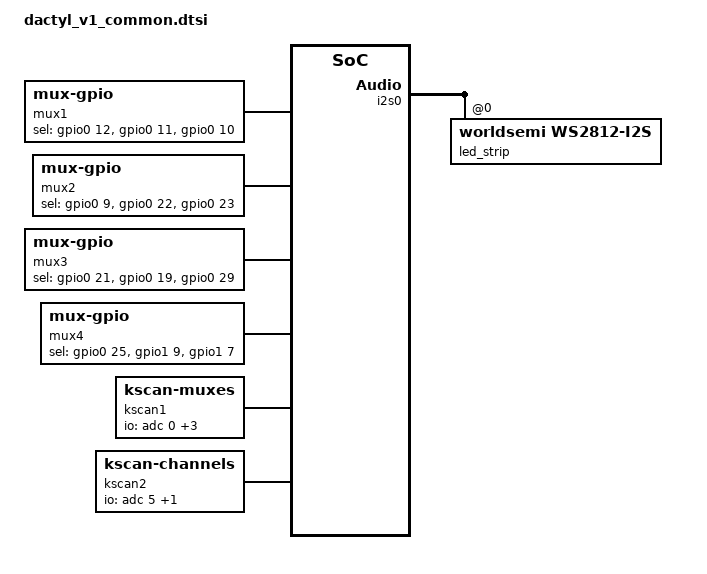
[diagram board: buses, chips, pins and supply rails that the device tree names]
#include <zephyr/dt-bindings/led/led.h>
#include <dt-bindings/kb-handler/kb-key-codes.h>

/ {

    mux1: mux1 {
        compatible = "mux-gpio";
        sel-gpios = <&gpio0 12 GPIO_ACTIVE_HIGH>,
                    <&gpio0 11 GPIO_ACTIVE_HIGH>,
                    <&gpio0 10 GPIO_ACTIVE_HIGH>;
        channels = <8>;
        #mux-cells = <0>;
    };
    mux2: mux2 {
        compatible = "mux-gpio";
        sel-gpios = <&gpio0 9 GPIO_ACTIVE_HIGH>,
                    <&gpio0 22 GPIO_ACTIVE_HIGH>,
                    <&gpio0 23 GPIO_ACTIVE_HIGH>;
        channels = <8>;
        #mux-cells = <0>;
    };
    mux3: mux3 {
        compatible = "mux-gpio";
        sel-gpios = <&gpio0 21 GPIO_ACTIVE_HIGH>,
                    <&gpio0 19 GPIO_ACTIVE_HIGH>,
                    <&gpio0 29 GPIO_ACTIVE_HIGH>;
        channels = <8>;
        #mux-cells = <0>;
    };
    mux4: mux4 {
        compatible = "mux-gpio";
        sel-gpios = <&gpio0 25 GPIO_ACTIVE_HIGH>,
                    <&gpio1 9 GPIO_ACTIVE_HIGH>,
                    <&gpio1 7 GPIO_ACTIVE_HIGH>;
        channels = <8>;
        #mux-cells = <0>;
    };

    kscan1: kscan1 {

        compatible = "kscan-muxes";

        // handles indexes [0-7], [8-15], [16-23], [24-31]
        idx-offset = <0>;
        io-channels = <&adc 0>, <&adc 1>, <&adc 2>, <&adc 3>; // P0.04, P0.05, P0.06, P0.07
        muxes = <&mux1>, <&mux2>, <&mux3>, <&mux4>;

        settle-us = <3>;
        default-thresholds = <600>, <600>, <600>, <600>, <600>,
                             <600>, <600>, <600>, <600>, <600>,
                             <600>, <600>, <600>, <600>, <600>,
                             <600>, <600>, <600>, <600>, <600>,
                             <600>, <600>, <600>, <600>, <600>,
                             <600>, <600>, <600>, <600>, <600>,
                             <600>, <600>;

        #kscan-cells = <0>;
    };
    kscan2: kscan2 {

        compatible = "kscan-channels";

        // handles indexes [32-33]
        idx-offset = <32>;
        io-channels = <&adc 5>, <&adc 7>; // P0.26, P0.28

        settle-us = <3>;
        default-thresholds = <600>, <600>;

        #kscan-cells = <0>;
    };

    kb_handler: kb-handler {

        kscans = <&kscan1>, <&kscan2>;

        key-count = <34>;

        default-keymap-layer1 =
            // Left (34)
            <KEY_NOKEY>, <KEY_NOKEY>, <KEY_NOKEY>, <KEY_NOKEY>, <KEY_NOKEY>,
            <KEY_NOKEY>, <KEY_NOKEY>, <KEY_NOKEY>, <KEY_NOKEY>, <KEY_NOKEY>,
            <KEY_NOKEY>, <KEY_NOKEY>, <KEY_NOKEY>, <KEY_NOKEY>, <KEY_NOKEY>,
            <KEY_NOKEY>, <KEY_NOKEY>, <KEY_NOKEY>, <KEY_NOKEY>, <KEY_NOKEY>,
            <KEY_NOKEY>, <KEY_NOKEY>, <KEY_NOKEY>, <KEY_NOKEY>, <KEY_NOKEY>,
            <KEY_NOKEY>, <KEY_NOKEY>, <KEY_NOKEY>, <KEY_NOKEY>, <KEY_NOKEY>,
            <KEY_NOKEY>, <KEY_NOKEY>, <KEY_NOKEY>, <KEY_NOKEY>,

            // Right (34)
            <KEY_NOKEY>, <KEY_NOKEY>, <KEY_NOKEY>, <KEY_NOKEY>, <KEY_NOKEY>,
            <KEY_NOKEY>, <KEY_NOKEY>, <KEY_NOKEY>, <KEY_NOKEY>, <KEY_NOKEY>,
            <KEY_NOKEY>, <KEY_NOKEY>, <KEY_NOKEY>, <KEY_NOKEY>, <KEY_NOKEY>,
            <KEY_NOKEY>, <KEY_NOKEY>, <KEY_NOKEY>, <KEY_NOKEY>, <KEY_NOKEY>,
            <KEY_NOKEY>, <KEY_NOKEY>, <KEY_NOKEY>, <KEY_NOKEY>, <KEY_NOKEY>,
            <KEY_NOKEY>, <KEY_NOKEY>, <KEY_NOKEY>, <KEY_NOKEY>, <KEY_NOKEY>,
            <KEY_NOKEY>, <KEY_NOKEY>, <KEY_NOKEY>, <KEY_NOKEY>;

        default-keymap-layer2 =
            // Left (34)
            <KEY_NOKEY>, <KEY_NOKEY>, <KEY_NOKEY>, <KEY_NOKEY>, <KEY_NOKEY>,
            <KEY_NOKEY>, <KEY_NOKEY>, <KEY_NOKEY>, <KEY_NOKEY>, <KEY_NOKEY>,
            <KEY_NOKEY>, <KEY_NOKEY>, <KEY_NOKEY>, <KEY_NOKEY>, <KEY_NOKEY>,
            <KEY_NOKEY>, <KEY_NOKEY>, <KEY_NOKEY>, <KEY_NOKEY>, <KEY_NOKEY>,
            <KEY_NOKEY>, <KEY_NOKEY>, <KEY_NOKEY>, <KEY_NOKEY>, <KEY_NOKEY>,
            <KEY_NOKEY>, <KEY_NOKEY>, <KEY_NOKEY>, <KEY_NOKEY>, <KEY_NOKEY>,
            <KEY_NOKEY>, <KEY_NOKEY>, <KEY_NOKEY>, <KEY_NOKEY>,

            // Right (34)
            <KEY_NOKEY>, <KEY_NOKEY>, <KEY_NOKEY>, <KEY_NOKEY>, <KEY_NOKEY>,
            <KEY_NOKEY>, <KEY_NOKEY>, <KEY_NOKEY>, <KEY_NOKEY>, <KEY_NOKEY>,
            <KEY_NOKEY>, <KEY_NOKEY>, <KEY_NOKEY>, <KEY_NOKEY>, <KEY_NOKEY>,
            <KEY_NOKEY>, <KEY_NOKEY>, <KEY_NOKEY>, <KEY_NOKEY>, <KEY_NOKEY>,
            <KEY_NOKEY>, <KEY_NOKEY>, <KEY_NOKEY>, <KEY_NOKEY>, <KEY_NOKEY>,
            <KEY_NOKEY>, <KEY_NOKEY>, <KEY_NOKEY>, <KEY_NOKEY>, <KEY_NOKEY>,
            <KEY_NOKEY>, <KEY_NOKEY>, <KEY_NOKEY>, <KEY_NOKEY>;
    };
};

&i2s0 {
    status = "okay";
    pinctrl-0 = <&i2s0_default>;
    pinctrl-1 = <&i2s0_sleep>;
    pinctrl-names = "default", "sleep";

    led_strip: led_strip@0 {
        compatible = "worldsemi,ws2812-i2s";
        reg = <0>;
        status = "okay";
        chain-length = <34>;
        color-mapping = <LED_COLOR_ID_GREEN
                    LED_COLOR_ID_RED
                    LED_COLOR_ID_BLUE>;
    };
};
